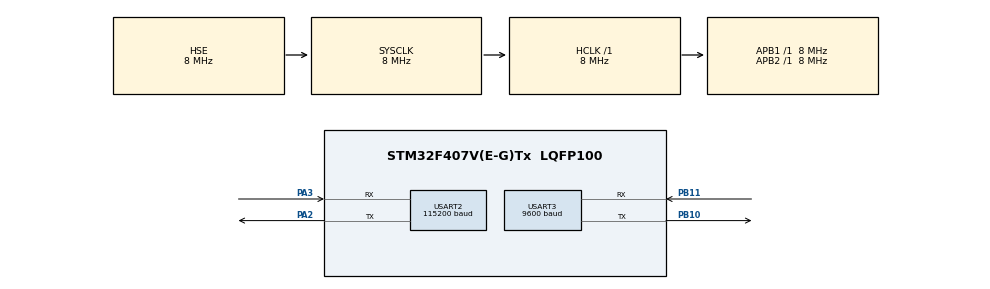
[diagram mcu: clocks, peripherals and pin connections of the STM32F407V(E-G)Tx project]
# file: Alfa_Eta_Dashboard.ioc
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Mcu.Family=STM32F4
Mcu.Name=STM32F407V(E-G)Tx
Mcu.Package=LQFP100
NVIC.PriorityGroup=NVIC_PRIORITYGROUP_4
PA2.Mode=Asynchronous
PA2.Signal=USART2_TX
PA3.Mode=Asynchronous
PA3.Signal=USART2_RX
PB10.Mode=Asynchronous
PB10.Signal=USART3_TX
PB11.Mode=Asynchronous
PB11.Signal=USART3_RX
PH0-OSC_IN.Mode=HSE-External-Oscillator
PH0-OSC_IN.Signal=RCC_OSC_IN
PH1-OSC_OUT.Mode=HSE-External-Oscillator
PH1-OSC_OUT.Signal=RCC_OSC_OUT
ProjectManager.HeapSize=0x200
ProjectManager.StackSize=0x400
ProjectManager.TargetToolchain=STM32CubeIDE
RCC.48MHZClocksFreq_Value=42000000
RCC.AHBFreq_Value=8000000
RCC.APB1Freq_Value=8000000
RCC.APB1TimFreq_Value=8000000
RCC.APB2Freq_Value=8000000
RCC.APB2TimFreq_Value=8000000
RCC.CortexFreq_Value=8000000
RCC.HCLKFreq_Value=8000000
RCC.HSE_VALUE=8000000
RCC.HSI_VALUE=16000000
RCC.LSE_VALUE=32768
RCC.PLLM=4
RCC.PLLN=84
RCC.PLLSourceVirtual=RCC_PLLSOURCE_HSE
RCC.SYSCLKFreq_VALUE=8000000
RCC.SYSCLKSource=RCC_SYSCLKSOURCE_HSE
RCC.VCOOutputFreq_Value=168000000
USART2.BaudRate=115200
USART2.VirtualMode=VM_ASYNC
USART3.BaudRate=9600
USART3.VirtualMode=VM_ASYNC
board=custom

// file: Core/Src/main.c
/* USER CODE BEGIN Header */
/**
  ******************************************************************************
  * @file           : main.c
  * @brief          : Main program body
  ******************************************************************************
  * @attention
  *
  * Copyright (c) 2025 STMicroelectronics.
  * All rights reserved.
  *
  * This software is licensed under terms that can be found in the LICENSE file
  * in the root directory of this software component.
  * If no LICENSE file comes with this software, it is provided AS-IS.
  *
  ******************************************************************************
  */
/* USER CODE END Header */
#include "main.h"

/* USER CODE BEGIN Includes */
#include "dashboard_controls.h"
#include "geo_to_pixel.h"
/* USER CODE END Includes */

UART_HandleTypeDef huart2;
UART_HandleTypeDef huart3;

/* USER CODE BEGIN PV */
int count = 0; // Used to simulate changing speed and toggle signals

// Runtime variables representing vehicle data
int speed,
batteryValue,
powerKW,
packVoltage,
maxVoltage,
minVoltage,
batteryTemp;

// Gear state (e.g., Drive, Neutral, Reverse)
NEX_Gears gear;

// Nextion states (ON/OFF)
NEX_State handbrake,
signalLeft ,
signalRight,
connWarn,
battWarn,
lights;

// Map offset and positioning data
MapOffset MapData;

// Structure to hold pointers to all runtime variables for dashboard communication
NEX_Data dashboardValues = {
     .speed 			=	&speed,
     .batteryValue		= 	&batteryValue,
     .powerKW 			= 	&powerKW,
     .packVoltage 		= 	&packVoltage,
     .maxVoltage 		= 	&maxVoltage,
     .minVoltage 		= 	&minVoltage,
     .batteryTemp 		= 	&batteryTemp,
	 .mapData 			=	&MapData,
     .gear 				= 	&gear,
     .handbrake 		= 	&handbrake,
     .signalLeft 		= 	&signalLeft,
     .signalRight 		= 	&signalRight,
     .connWarn 			= 	&connWarn,
     .battWarn 			= 	&battWarn,
     .lights 			= 	&lights
 };

/* USER CODE END PV */

void SystemClock_Config(void);
static void MX_GPIO_Init(void);
static void MX_USART2_UART_Init(void);
static void MX_USART3_UART_Init(void);

int main(void)
{

  /* MCU Configuration--------------------------------------------------------*/

  /* Reset of all peripherals, Initializes the Flash interface and the Systick. */
  HAL_Init();

  /* Configure the system clock */
  SystemClock_Config();

  /* Initialize all configured peripherals */
  MX_GPIO_Init();
  MX_USART2_UART_Init();
  MX_USART3_UART_Init();
  /* USER CODE BEGIN 2 */

  // IMPOTANT : Call after UART initialization (e.g., MX_USARTX_UART_Init())

  // Initialize the Nextion dashboard interface with UART and runtime data
  NEX_Init(&huart2, &dashboardValues);

  // Initialize the GPS-to-pixel conversion module for map tracking
  Geo_To_Pixel_Init(&huart3, &MapData);

  /* USER CODE END 2 */

  /* Infinite loop */
  /* USER CODE BEGIN WHILE */
  while (1)
  {

	  // Simulated sensor values for testing
	  batteryValue = 10;       // Battery percentage (0-100%)
	  powerKW = 3;             // Power in kilowatts
	  packVoltage = 5220;      // Total battery voltage (in 00.01 V, e.g., 57.15 V)
	  maxVoltage = 375;        // Max cell voltage (in 0.01 V, e.g., 3.75 V)
	  minVoltage = 370;        // Min cell voltage (in 0.01 V, e.g., 3.70 V)
	  batteryTemp = 2750;      // Battery temperature (in 0.01 °C, e.g., 27.50°C)

	  // Simulate gear and vehicle states
	  gear = NEX_GEAR_DRIVE;
	  handbrake = NEX_STATE_ON;

	  // Simulate warning lights
	  connWarn = NEX_STATE_ON;
	  battWarn = NEX_STATE_ON;
	  lights = NEX_STATE_ON;

	  // Update speed in a loop from 0 to 50
	  speed = count;
	  count = count+1;

	  if(count%2 == 0)
	  {
		  signalLeft = NEX_STATE_ON;
		  signalRight = NEX_STATE_ON;
	  }
	  else
	  {
		  signalLeft = NEX_STATE_OFF;
		  signalRight = NEX_STATE_OFF;
	  }

	  // Reset the counter after reaching 50
	  if(count>50)
		  count = 0;

	  // Update map coordinates and calculate pixel position
	  Geo_To_Pixel_Run_Pipeline();

	  // Send updated values to the Nextion display
	  NEX_Refresh();

	  // Wait before next update (simulate 300ms refresh rate)
	  HAL_Delay(300);

    /* USER CODE END WHILE */

  }
}

void SystemClock_Config(void)
{
  RCC_OscInitTypeDef RCC_OscInitStruct = {0};
  RCC_ClkInitTypeDef RCC_ClkInitStruct = {0};

  /** Configure the main internal regulator output voltage
  */
  __HAL_RCC_PWR_CLK_ENABLE();
  __HAL_PWR_VOLTAGESCALING_CONFIG(PWR_REGULATOR_VOLTAGE_SCALE1);

  /** Initializes the RCC Oscillators according to the specified parameters
  * in the RCC_OscInitTypeDef structure.
  */
  RCC_OscInitStruct.OscillatorType = RCC_OSCILLATORTYPE_HSE;
  RCC_OscInitStruct.HSEState = RCC_HSE_ON;
  RCC_OscInitStruct.PLL.PLLState = RCC_PLL_NONE;
  if (HAL_RCC_OscConfig(&RCC_OscInitStruct) != HAL_OK)
  {
    Error_Handler();
  }

  /** Initializes the CPU, AHB and APB buses clocks
  */
  RCC_ClkInitStruct.ClockType = RCC_CLOCKTYPE_HCLK|RCC_CLOCKTYPE_SYSCLK
                              |RCC_CLOCKTYPE_PCLK1|RCC_CLOCKTYPE_PCLK2;
  RCC_ClkInitStruct.SYSCLKSource = RCC_SYSCLKSOURCE_HSE;
  RCC_ClkInitStruct.AHBCLKDivider = RCC_SYSCLK_DIV1;
  RCC_ClkInitStruct.APB1CLKDivider = RCC_HCLK_DIV1;
  RCC_ClkInitStruct.APB2CLKDivider = RCC_HCLK_DIV1;

  if (HAL_RCC_ClockConfig(&RCC_ClkInitStruct, FLASH_LATENCY_0) != HAL_OK)
  {
    Error_Handler();
  }
}

static void MX_USART2_UART_Init(void)
{

  huart2.Instance = USART2;
  huart2.Init.BaudRate = 115200;
  huart2.Init.WordLength = UART_WORDLENGTH_8B;
  huart2.Init.StopBits = UART_STOPBITS_1;
  huart2.Init.Parity = UART_PARITY_NONE;
  huart2.Init.Mode = UART_MODE_TX_RX;
  huart2.Init.HwFlowCtl = UART_HWCONTROL_NONE;
  huart2.Init.OverSampling = UART_OVERSAMPLING_16;
  if (HAL_UART_Init(&huart2) != HAL_OK)
  {
    Error_Handler();
  }

}

static void MX_USART3_UART_Init(void)
{

  huart3.Instance = USART3;
  huart3.Init.BaudRate = 9600;
  huart3.Init.WordLength = UART_WORDLENGTH_8B;
  huart3.Init.StopBits = UART_STOPBITS_1;
  huart3.Init.Parity = UART_PARITY_NONE;
  huart3.Init.Mode = UART_MODE_TX_RX;
  huart3.Init.HwFlowCtl = UART_HWCONTROL_NONE;
  huart3.Init.OverSampling = UART_OVERSAMPLING_16;
  if (HAL_UART_Init(&huart3) != HAL_OK)
  {
    Error_Handler();
  }

}

static void MX_GPIO_Init(void)
{

  /* GPIO Ports Clock Enable */
  __HAL_RCC_GPIOH_CLK_ENABLE();
  __HAL_RCC_GPIOA_CLK_ENABLE();
  __HAL_RCC_GPIOB_CLK_ENABLE();

}

void Error_Handler(void)
{
  __disable_irq();
  while (1)
  {
  }
}
